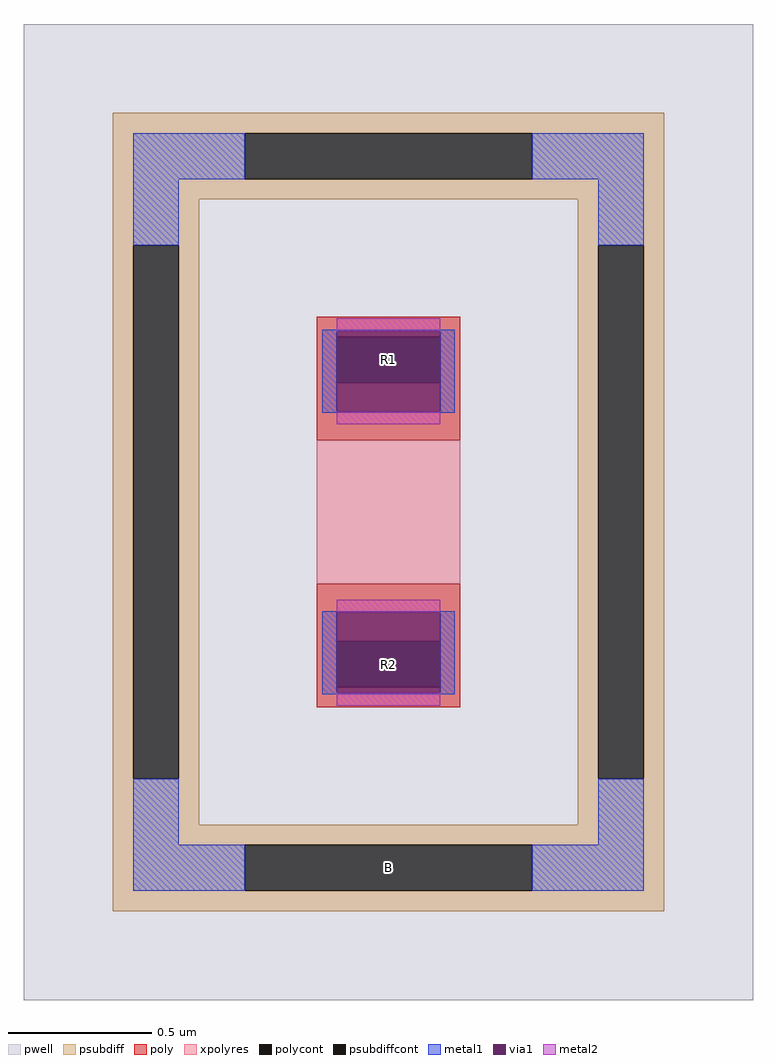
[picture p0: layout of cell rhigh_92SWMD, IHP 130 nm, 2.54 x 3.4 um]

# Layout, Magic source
magic
tech ihp-sg13g2
magscale 1 2
<< pwell >>
rect -254 -340 254 340
<< psubdiff >>
rect -192 264 192 278
rect -192 232 -100 264
rect 100 232 192 264
rect -192 218 192 232
rect -192 186 -132 218
rect -192 -186 -178 186
rect -146 -186 -132 186
rect 132 186 192 218
rect -192 -218 -132 -186
rect 132 -186 146 186
rect 178 -186 192 186
rect 132 -218 192 -186
rect -192 -232 192 -218
rect -192 -264 -100 -232
rect 100 -264 192 -232
rect -192 -278 192 -264
<< psubdiffcont >>
rect -100 232 100 264
rect -178 -186 -146 186
rect 146 -186 178 186
rect -100 -264 100 -232
<< poly >>
rect -50 122 50 136
rect -50 90 -36 122
rect 36 90 50 122
rect -50 50 50 90
rect -50 -90 50 -50
rect -50 -122 -36 -90
rect 36 -122 50 -90
rect -50 -136 50 -122
<< polycont >>
rect -36 90 36 122
rect -36 -122 36 -90
<< xpolyres >>
rect -50 -50 50 50
<< metal1 >>
rect -178 232 -100 264
rect 100 232 178 264
rect -178 186 -146 232
rect 146 186 178 232
rect -46 126 46 127
rect -46 70 -36 126
rect 36 70 46 126
rect -46 69 46 70
rect -46 -70 46 -69
rect -46 -126 -36 -70
rect 36 -126 46 -70
rect -46 -127 46 -126
rect -178 -232 -146 -186
rect 146 -232 178 -186
rect -178 -264 -100 -232
rect 100 -264 178 -232
<< via1 >>
rect -36 122 36 126
rect -36 90 36 122
rect -36 70 36 90
rect -36 -90 36 -70
rect -36 -122 36 -90
rect -36 -126 36 -122
<< metal2 >>
rect -36 126 36 135
rect -36 61 36 70
rect -36 -70 36 -61
rect -36 -135 36 -126
<< labels >>
rlabel psubdiffcont 0 -248 0 -248 0 B
port 1 nsew
rlabel polycont 0 106 0 106 0 R1
port 2 nsew
rlabel polycont 0 -106 0 -106 0 R2
port 3 nsew
<< properties >>
string FIXED_BBOX -162 -248 162 248
string gencell rhigh
string library sg13g2
string MASKHINTS_CONTBAR -50 -136 50 136
string parameters w 0.50 l 0.50 m 1 nx 1 wmin 0.50 lmin 0.50 class resistor rho 1360 val 2720.0 dummy 0 dw 0.0 term 0.0 sterm 0.0 caplen 0 bar 1 guard 1 glc 1 grc 1 gtc 1 gbc 1 snake 0 full_metal 1 n_guard 0 hv_guard 0 vias 1 viagb 0 viagt 0 viagl 0 viagr 0 doports 1
<< end >>
